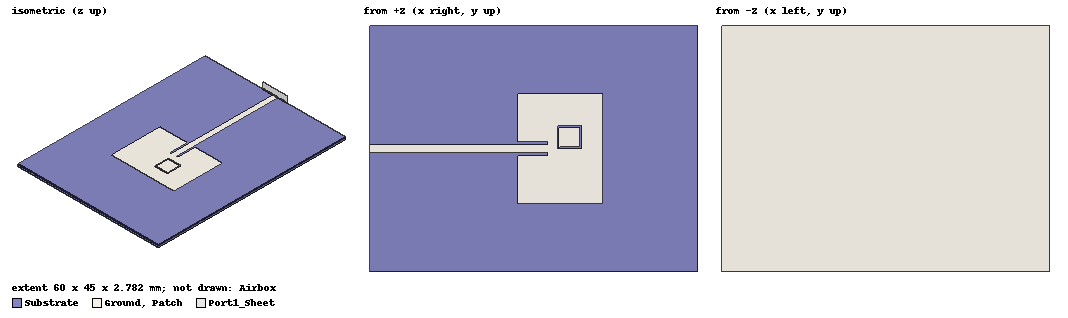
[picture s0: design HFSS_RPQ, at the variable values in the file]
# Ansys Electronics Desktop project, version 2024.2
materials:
  vacuum: permittivity=1
  RO4350B: permittivity=3.48 permeability=1 dielectric_loss_tangent=0.0037
  pec: conductivity=1e+30
  air: permittivity=1.0006 permeability=1.0000004

design HFSS_RPQ (HFSS, HFSS Terminal Network, model units mm)
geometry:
  Substrate [RO4350B] = box(corner=(-30mm, -22.5mm, 0mm), size=(60mm, 45mm, 0.762mm))
  Ground [pec] = rectangle(corner=(-30mm, -22.5mm, 0mm), x_size=60mm, y_size=45mm)
  Patch [pec] = rectangle(corner=(-2.99995mm, -10.01535mm, 0.762mm), x_size=15.5383mm, y_size=20.0307mm)
  Feed = rectangle(corner=(-30mm, -0.7991mm, 0.762mm), x_size=32.58775mm, y_size=1.5982mm)
  Patch.unite(Feed)
  TopCut_0_inset_gap_top = rectangle(corner=(-2.99995mm, 0.7991mm, 0.762mm), x_size=5.5877mm, y_size=0.4795mm)
  TopCut_1_inset_gap_bottom = rectangle(corner=(-2.99995mm, -1.2786mm, 0.762mm), x_size=5.5877mm, y_size=0.4795mm)
  TopCut_2_csrr_top = rectangle(corner=(4.3356366mm, 3.8942712mm, 0.762mm), x_size=4.4367639mm, y_size=0.28400277mm)
  TopCut_3_csrr_bottom = rectangle(corner=(4.6691984mm, -0.0025682922mm, 0.762mm), x_size=3.7696405mm, y_size=0.28400277mm)
  TopCut_4_csrr_left = rectangle(corner=(4.3356366mm, -0.0025682922mm, 0.762mm), x_size=0.28400277mm, y_size=4.1808423mm)
  TopCut_5_csrr_right = rectangle(corner=(8.4883978mm, -0.0025682922mm, 0.762mm), x_size=0.28400277mm, y_size=4.1808423mm)
  Patch.subtract(TopCut_0_inset_gap_top, TopCut_1_inset_gap_bottom, TopCut_2_csrr_top, TopCut_3_csrr_bottom, TopCut_4_csrr_left, TopCut_5_csrr_right)
  Airbox [air] = box(corner=(-30mm, -42.5mm, -20mm), size=(80mm, 85mm, 40.762mm))
  Port1_Sheet = rectangle(corner=(-30mm, -3.9955mm, -0.02mm), y_size=7.991mm, z_size=2.782mm)
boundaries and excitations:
  Copper_PEC: Perfect E Objects=[Ground, Patch]
  Radiation: Radiation Objects=Airbox
  Port1: Wave Port Objects=Port1_Sheet WavePortType=Modal NumModes=1 Modes{Mode1{CharImp=Zpi RenormImp=50ohm}}
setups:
  Setup1: HfssDriven Frequency=5GHz MaxDeltaS=0.02 MaximumPasses=10 MinimumPasses=1 MinimumConvergedPasses=1 PercentRefinement=30 BasisOrder=1 PortAccuracy=2 DrivenSolverType="Direct Solver"
    sweep Sweep_4_6GHz: 4GHz to 6GHz, 101 points; Type=Interpolating SaveRadFields InterpTolerance=0.5 InterpMaxSolns=250 InterpUsePortImped=false PassivityErrorTolerance=0.0001
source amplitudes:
  Port1:1: 1V 0deg
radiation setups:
  InfiniteSphere_EH_Cuts: Infinite Sphere Theta=-180deg..180deg step 1deg Phi=-90deg..90deg step 90deg
